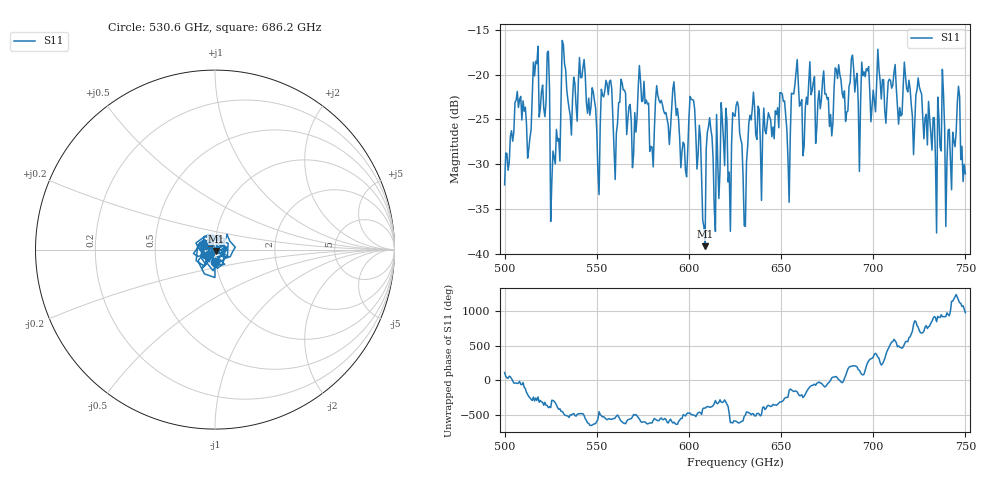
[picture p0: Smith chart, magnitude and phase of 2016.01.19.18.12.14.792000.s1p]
!Created with skrf (http://scikit-rf.org).
# GHz S RI R 50.0
!freq ReS11 ImS11
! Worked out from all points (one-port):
!   401 points, 500 GHz to 750 GHz, reference 50 ohm
!   lowest |S11| = -39.2 dB at 608.8 GHz (marker M1), VSWR 1.02, Z = 50.8 - j0.779 ohm
!   |S11| at or under -10 dB: start of sweep to end of sweep
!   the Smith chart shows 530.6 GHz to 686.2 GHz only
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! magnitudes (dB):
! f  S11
! 500 GHz  -32.3
! 506.9 GHz  -21.9
! 513.1 GHz  -28.3
! 516.9 GHz  -18.5
! 523.1 GHz  -17.5
! 526.2 GHz  -28.5
! 531.2 GHz  -16.2
! 541.9 GHz  -20.3
! 550.6 GHz  -30.8
! 553.8 GHz  -22.5
! 562.5 GHz  -23.1
! 593.8 GHz  -23.8
! 598.1 GHz  -30.7
! 601.9 GHz  -22.8
! 608.8 GHz  -39.2
! 610.6 GHz  -25.8
! 615 GHz  -24.4
! 625 GHz  -24.6
! 630.6 GHz  -37.0
! 634.4 GHz  -23.8
! 650.6 GHz  -22.1
! 653.8 GHz  -29.4
! 656.2 GHz  -22.1
! 687.5 GHz  -20.8
! 718.8 GHz  -21.9
! 733.1 GHz  -24.8
! 745.6 GHz  -23.1
! 750 GHz  -31.1
